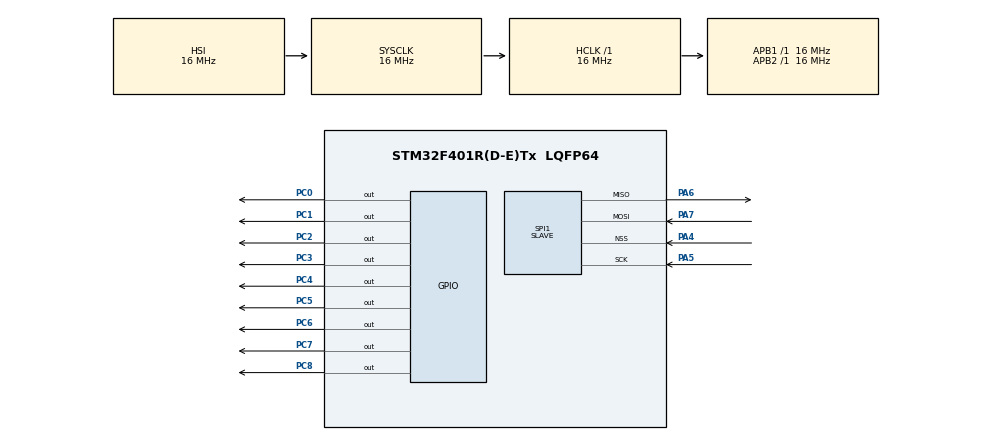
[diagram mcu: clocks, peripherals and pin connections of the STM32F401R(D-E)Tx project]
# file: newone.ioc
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Mcu.Family=STM32F4
Mcu.Name=STM32F401R(D-E)Tx
Mcu.Package=LQFP64
NVIC.PriorityGroup=NVIC_PRIORITYGROUP_4
NVIC.TIM2_IRQn=true\:0\:0\:false\:false\:true\:true\:true\:true
NVIC.TIM3_IRQn=true\:0\:0\:false\:false\:true\:true\:true\:true
PA4.Mode=NSS_Signal_Hard_Input
PA4.Signal=SPI1_NSS
PA5.Mode=Full_Duplex_Slave
PA5.Signal=SPI1_SCK
PA6.Mode=Full_Duplex_Slave
PA6.Signal=SPI1_MISO
PA7.Mode=Full_Duplex_Slave
PA7.Signal=SPI1_MOSI
PC0.Signal=GPIO_Output
PC1.Signal=GPIO_Output
PC2.Signal=GPIO_Output
PC3.Signal=GPIO_Output
PC4.Signal=GPIO_Output
PC5.Signal=GPIO_Output
PC6.Signal=GPIO_Output
PC7.Signal=GPIO_Output
PC8.Signal=GPIO_Output
ProjectManager.HeapSize=0x200
ProjectManager.StackSize=0x400
ProjectManager.TargetToolchain=MDK-ARM V5.32
RCC.AHBFreq_Value=16000000
RCC.APB1Freq_Value=16000000
RCC.APB2Freq_Value=16000000
RCC.CortexFreq_Value=16000000
RCC.HSE_VALUE=25000000
RCC.HSI_VALUE=16000000
RCC.LSE_VALUE=32768
RCC.SYSCLKFreq_VALUE=16000000
RCC.VCOOutputFreq_Value=192000000
SPI1.Direction=SPI_DIRECTION_2LINES
SPI1.Mode=SPI_MODE_SLAVE
SPI1.VirtualNSS=VM_NSSHARD
SPI1.VirtualType=VM_SLAVE
VP_TIM2_VS_ClockSourceINT.Mode=Internal
VP_TIM2_VS_ClockSourceITR.Mode=TriggerSource_ITR0
VP_TIM3_VS_ClockSourceINT.Mode=Internal
VP_TIM3_VS_ClockSourceITR.Mode=TriggerSource_ITR0
board=custom

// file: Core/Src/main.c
/* USER CODE BEGIN Header */
/**
  ******************************************************************************
  * @file           : main.c
  * @brief          : Main program body
  ******************************************************************************
  * @attention
  *
  * Copyright (c) 2023 STMicroelectronics.
  * All rights reserved.
  *
  * This software is licensed under terms that can be found in the LICENSE file
  * in the root directory of this software component.
  * If no LICENSE file comes with this software, it is provided AS-IS.
  *
  ******************************************************************************
  */
/* USER CODE END Header */
#include "main.h"

/* USER CODE BEGIN Includes */
#include "stm32f4xx_hal.h"
#include "stm32f4xx_hal_dac.h"
#include "math.h"
#include "../../Drivers/LCD16x2Lib/LCD.h"
#include "stdio.h"
#include <stdlib.h>
/* USER CODE END Includes */

 SPI_HandleTypeDef hspi1;

TIM_HandleTypeDef htim2;
TIM_HandleTypeDef htim3;

void SystemClock_Config(void);
static void MX_GPIO_Init(void);
static void MX_SPI1_Init(void);
static void MX_TIM3_Init(void);
static void MX_TIM2_Init(void);

/* USER CODE BEGIN 0 */
//defined variables
volatile uint16_t frequency;
volatile uint16_t duration;
volatile uint16_t wave_model;
volatile uint8_t flag=1;
//for printing waves
volatile uint8_t index=0;
volatile uint8_t interupt_occured=1;
void create_square_pulse(void);
void create_trangle_pulse(void);
void create_saw_tooth_pulse(void);
void create_sin_pulse(void);
void create_abs_pulse(void);
void create_step_pulse(void);
void HAL_TIM_PeriodElapsedCallback(TIM_HandleTypeDef *htim);
const uint8_t square_pule_lookUp[200] = {
0,0,0,0,0,0,0,0,0,0,0,0,0,0,0,0,0,0,0,0,0,0,0,0,0,0,0,0,0,0,0,0,0,0,0,0,0,0,0,0,0,0,0,0,0,0,0,0,0,0,0,0,0,0,0,0,0,0,0,0,
0,0,0,0,0,0,0,0,0,0,0,0,0,0,0,0,0,0,0,0,0,0,0,0,0,0,0,0,0,0,0,0,0,0,0,0,0,0,0,0,127,127,127,127,127,127,127,127,127,127,
127,127,127,127,127,127,127,127,127,127,127,127,127,127,127,127,127,127,127,127,127,127,127,127,127,127,127,127,127,127,
127,127,127,127,127,127,127,127,127,127,127,127,127,127,127,127,127,127,127,127,127,127,127,127,127,127,127,127,127,127,
127,127,127,127,127,127,127,127,127,127,127,127,127,127,127,127,127,127,127,127,127,127,127,127,127,127,127,127,127,127 };
const uint8_t triangle[200] = {0,  3,  5,  8, 10, 13, 15, 18, 20, 23, 25, 28, 30,33, 36, 38, 41, 43, 46, 48, 51, 53, 56, 58, 61, 64,
	66, 69, 71, 74, 76, 79, 81, 84, 86, 89, 91, 94, 97,99,102,104,107,109,112,114,117,119,122,124,127,130,132,135,137,140,142,145,147,
	150,152,155,157,160,163,165,168,170,173,175,178,180,183,185,188,190,193,196,198,201,203,206,208,211,213,216,218,221,224,226,229,231
	,234,236,239,241,244,246,249,251,254,251,249,246,244,241,239,236,234,231,229,226,224,221,218,216,213,211,208,206,203,201,198,196,193,
	190,188,185,183,180,178,175,173,170,168,165,163,160,157,155,152,150,147,145,142,140,137,135,132,130,127,124,122,119,117,114,112,109,
	107,104,102, 99, 97, 94, 91, 89, 86, 84, 81,79, 76, 74, 71, 69, 66, 64, 61, 58, 56, 53, 51, 48,46, 43, 41, 38, 36, 33, 30, 28, 25, 23,
20, 18, 15,13, 10,  8,  5,  3 };
const uint8_t step_lookUp_table[]={
0,0,0,0,0,20,20,20,20,20,20,20,38,38,38,38,38,38,38,56,56,56,56,56,56,56,74,74,74,74,74,74,74,92,92,92,92,92,92,92,110,
110,110,110,110,110,110,128,128,128,128,128,128,128,146,146,146,146,146,146,146,164,164,164,164,164,164,164,182,182,182,
182,182,182,182,200,200,200,200,200,200,200,218,218,218,218,218,218,218,236,236,236,236,236,236,236,254,254,254,254,
254,254,254,254,236,236,236,236,236,236,236,218,218,218,218,218,218,218,200,200,200,200,200,200,200,182,182,182,182,182,182,182,164,164,164,164,164,164,164,146,146,146,146,146,146,146,128,128,128,128,128,128,128,110,110,110,110,110,110,
110,92,92,92,92,92,92,92,74,74,74,74,74,74,74,56,56,56,56,56,56,56,38,38,38,38,38,38,38,20,20,20,20,20,20,20,0,0,0,0,0};
const uint8_t sin_lookUp_table[]={127,131,135,139,143,147,151,155,159,162,166,170,174,177,181,185,188,192,195,198,202,205,208,211,214,
	217,220,222,225,227,230,232,234,236,238,240,242,244,245,246,248,249,250,251,252,252,253,253,254,254,254,254,254,253,253,252,252,251,
	250,249,248,246,245,244,242,240,238,236,234,232,230,227,225,222,220,217,214,211,208,205,202,198,195,192,188,185,181,177,174,170,166,
	162,159,155,151,147,143,139,135,131,127,123,119,115,111,107,103, 99, 95, 92, 88, 84, 80, 77, 73, 69, 66,62, 59, 56, 52, 49, 46, 43,
	40, 37, 34, 32, 29, 27,24, 22, 20, 18, 16, 14, 12, 10,  9,  8,  6,  5,  4,3,  2,  2,  1,  1,  0,  0,  0,  0,  0,  1,  1,  2, 2,  3,
	4,  5,  6,  8,  9, 10, 12, 14, 16, 18, 20,22, 24, 27, 29, 32, 34, 37, 40, 43, 46, 49, 52, 56,59, 62, 66, 69, 73, 77, 80, 84, 88, 92,
95, 99,103,107,111,115,119,123};
const uint8_t abs_lookUp_table[]={127,131,135,139,143,147,151,155,159,162,166,170,174,177,181,185,188,192,195,198,202,205,208,211,214,
	217,220,222,225,227,230,232,234,236,238,240,242,244,245,246,248,249,250,251,252,252,253,253,254,254,254,254,254,253,253,252,252,251,
	250,249,248,246,245,244,242,240,238,236,234,232,230,227,225,222,220,217,214,211,208,205,202,198,195,192,188,185,181,177,174,170,166,
	162,159,155,151,147,143,139,135,131,127,131,135,139,143,147,151,155,159,162,166,170,174,177,181,185,188,192,195,198,202,205,208,211,214,
	217,220,222,225,227,230,232,234,236,238,240,242,244,245,246,248,249,250,251,252,252,253,253,254,254,254,254,254,253,253,252,252,251,
	250,249,248,246,245,244,242,240,238,236,234,232,230,227,225,222,220,217,214,211,208,205,202,198,195,192,188,185,181,177,174,170,166,
	162,159,155,151,147,143,139,135,131};
const uint8_t saw_tooth_lookUp_table[]={0,  1,  3,  4,  5,  6,  8,  9, 10, 11, 13, 14, 15,17, 18, 19, 20, 22, 23, 24, 25, 27, 28, 29,
	30, 32,33, 34, 36, 37, 38, 39, 41, 42, 43, 44, 46, 47, 48,50, 51, 52, 53, 55, 56, 57, 58, 60, 61, 62, 64, 65,66, 67, 69, 70, 71, 72,
	74, 75, 76, 77, 79, 80, 81,83, 84, 85, 86, 88, 89, 90, 91, 93, 94, 95, 97, 98,99,100,102,103,104,105,107,108,109,110,112,113,114,116,117,
	118,119,121,122,123,124,126,127,128,130,131,132,133,135,136,137,138,140,141,142,144,145,146,147,149,150,151,152,154,155,156,157,159,160,
	161,163,164,165,166,168,169,170,171,173,174,175,177,178,179,180,182,183,184,185,187,188,189,190,192,193,194,196,197,198,199,201,202,203,
	204,206,207,208,210,211,213,215,216,217,218,220,221,222,224,225,226,227,229,230,231,232,234,235,236,237,239,240,241,243,244,245,246,
 248,249,250,251,253,255};

/* USER CODE END 0 */

int main(void)
{

  /* MCU Configuration--------------------------------------------------------*/

  /* Reset of all peripherals, Initializes the Flash interface and the Systick. */
  HAL_Init();

  /* Configure the system clock */
  SystemClock_Config();

  /* Initialize all configured peripherals */
  MX_GPIO_Init();
  MX_SPI1_Init();
//  MX_TIM3_Init();
 // MX_TIM2_Init();
  /* USER CODE BEGIN 2 */
	__HAL_RCC_GPIOB_CLK_ENABLE();
	LCD_Init();

  /* USER CODE END 2 */

  /* Infinite loop */
  /* USER CODE BEGIN WHILE */
	//LCD_Puts(4, 0, "helllllllllo");
	/*LCD_Puts(0,0,"waiting...");
	uint8_t *received = (uint8_t*) malloc(6 * sizeof(uint8_t));
//	uint8_t *tx_buffer_slave = (uint8_t*) malloc(6 * sizeof(uint8_t));
	// uint8_t received[6];
	 HAL_SPI_Receive(&hspi1,received,6,HAL_MAX_DELAY);
	 LCD_Clear();
	 char str[33];

    frequency=(received[0]<<8)|received[1];
  	duration=(received[2]<<8)|received[3];
    wave_model=(received[4]<<8)|received[5];

	 sprintf(str,"freq is %06d",frequency);
	 LCD_Puts(0,0,str);
	 sprintf(str,"du is %06d",duration);
	 LCD_Puts(0,1,str);
	 HAL_Delay(1000);
	 LCD_Clear();
	 sprintf(str,"model is %01d",wave_model);
	 LCD_Puts(0,0,str);
	 //set the duratuon for the timer
	 HAL_Delay(1000);
 //  MX_TIM3_Init();

	 //now it should transmit what frequency it got
   HAL_Delay(100);
	 LCD_Clear();
	 LCD_Puts(0,0,"done config");
	 MX_TIM3_Init();
	 //	 MX_TIM2_Init();
	 HAL_Delay(1);
 if(wave_model==1){
		LCD_Clear();
		LCD_Puts(0,0,"sin");
		HAL_Delay(100);
  	create_sin_pulse();
	}
	else if(wave_model==2){
		LCD_Clear();
		LCD_Puts(0,0,"square pulse");
		HAL_Delay(100);
	  create_square_pulse();
	}
	else if(wave_model==3){
		LCD_Clear();
		LCD_Puts(0,0,"triangle");
		HAL_Delay(100);
   	create_trangle_pulse();
	}
	else if(wave_model==4){}
	else if(wave_model==5){}
	else if(wave_model==6){
		LCD_Clear();
		LCD_Puts(0,0,"saw_tooth");
		HAL_Delay(100);
		create_saw_tooth_pulse();
	 }
	 HAL_Delay(100);
	 //NOW the salve should send that it work is done and waiting for another command....
	 uint8_t *slave_send = (uint8_t*) malloc(1 * sizeof(uint8_t));
   slave_send[0]=(uint8_t)1;
	 HAL_SPI_Transmit(&hspi1,slave_send,1,HAL_MAX_DELAY);*/

  while (1)
  {
    /* USER CODE END WHILE */

    /* USER CODE BEGIN 3 */
		LCD_Puts(0,0,"waiting...");
	 uint8_t *received = (uint8_t*) malloc(6 * sizeof(uint8_t));
//	uint8_t *tx_buffer_slave = (uint8_t*) malloc(6 * sizeof(uint8_t));
	// uint8_t received[6];
	 HAL_SPI_Receive(&hspi1,received,6,HAL_MAX_DELAY);
	 LCD_Clear();
	 char str[33];

    frequency=(received[0]<<8)|received[1];
  	duration=(received[2]<<8)|received[3];
    wave_model=(received[4]<<8)|received[5];

	 sprintf(str,"freq is %06d",frequency);
	 LCD_Puts(0,0,str);
	 sprintf(str,"du is %06d",duration);
	 LCD_Puts(0,1,str);
	 HAL_Delay(1000);
	 LCD_Clear();
	 sprintf(str,"model is %01d",wave_model);
	 LCD_Puts(0,0,str);
	 //set the duratuon for the timer
	 HAL_Delay(1000);
   //  MX_TIM3_Init();

	 //now it should transmit what frequency it got
   HAL_Delay(100);
	 LCD_Clear();
	 LCD_Puts(0,0,"done config");
	 MX_TIM3_Init();
	 MX_TIM2_Init();
	 HAL_Delay(1);
 if(wave_model==1){
		LCD_Clear();
		LCD_Puts(0,0,"sin");
		HAL_Delay(100);
  	create_sin_pulse();
	}
	else if(wave_model==2){
		LCD_Clear();
		LCD_Puts(0,0,"square pulse");
		HAL_Delay(100);
	  create_square_pulse();
	}
	else if(wave_model==3){
		LCD_Clear();
		LCD_Puts(0,0,"abs");
		HAL_Delay(100);
   	create_abs_pulse();
	}
	else if(wave_model==4){
	LCD_Clear();
		LCD_Puts(0,0,"step");
		HAL_Delay(100);
   	create_step_pulse();}
	else if(wave_model==5){
		LCD_Clear();
		LCD_Puts(0,0,"triangle");
		HAL_Delay(100);
   	create_trangle_pulse();}
	else if(wave_model==6){
		LCD_Clear();
		LCD_Puts(0,0,"saw_tooth");
		HAL_Delay(100);
		create_saw_tooth_pulse();
	 }
	 HAL_Delay(100);
	 LCD_Clear();
	 frequency=0;
	 duration=0;
   wave_model=0;
   flag=1;
   index=0;
   interupt_occured=1;
	 //NOW the salve should send that it work is done and waiting for another command....
	 /*uint8_t *slave_send = (uint8_t*) malloc(1 * sizeof(uint8_t));
   slave_send[0]=(uint8_t)22;
	 HAL_SPI_Transmit(&hspi1,slave_send,1,HAL_MAX_DELAY);*/
  }

  /* USER CODE END 3 */
}

void SystemClock_Config(void)
{
  RCC_OscInitTypeDef RCC_OscInitStruct = {0};
  RCC_ClkInitTypeDef RCC_ClkInitStruct = {0};

  /** Configure the main internal regulator output voltage
  */
  __HAL_RCC_PWR_CLK_ENABLE();
  __HAL_PWR_VOLTAGESCALING_CONFIG(PWR_REGULATOR_VOLTAGE_SCALE2);

  /** Initializes the RCC Oscillators according to the specified parameters
  * in the RCC_OscInitTypeDef structure.
  */
  RCC_OscInitStruct.OscillatorType = RCC_OSCILLATORTYPE_HSI;
  RCC_OscInitStruct.HSIState = RCC_HSI_ON;
  RCC_OscInitStruct.HSICalibrationValue = RCC_HSICALIBRATION_DEFAULT;
  RCC_OscInitStruct.PLL.PLLState = RCC_PLL_NONE;
  if (HAL_RCC_OscConfig(&RCC_OscInitStruct) != HAL_OK)
  {
    Error_Handler();
  }

  /** Initializes the CPU, AHB and APB buses clocks
  */
  RCC_ClkInitStruct.ClockType = RCC_CLOCKTYPE_HCLK|RCC_CLOCKTYPE_SYSCLK
                              |RCC_CLOCKTYPE_PCLK1|RCC_CLOCKTYPE_PCLK2;
  RCC_ClkInitStruct.SYSCLKSource = RCC_SYSCLKSOURCE_HSI;
  RCC_ClkInitStruct.AHBCLKDivider = RCC_SYSCLK_DIV1;
  RCC_ClkInitStruct.APB1CLKDivider = RCC_HCLK_DIV1;
  RCC_ClkInitStruct.APB2CLKDivider = RCC_HCLK_DIV1;

  if (HAL_RCC_ClockConfig(&RCC_ClkInitStruct, FLASH_LATENCY_0) != HAL_OK)
  {
    Error_Handler();
  }
}

static void MX_SPI1_Init(void)
{

  /* SPI1 parameter configuration*/
  hspi1.Instance = SPI1;
  hspi1.Init.Mode = SPI_MODE_SLAVE;
  hspi1.Init.Direction = SPI_DIRECTION_2LINES;
  hspi1.Init.DataSize = SPI_DATASIZE_8BIT;
  hspi1.Init.CLKPolarity = SPI_POLARITY_LOW;
  hspi1.Init.CLKPhase = SPI_PHASE_1EDGE;
  hspi1.Init.NSS = SPI_NSS_HARD_INPUT;
  hspi1.Init.FirstBit = SPI_FIRSTBIT_MSB;
  hspi1.Init.TIMode = SPI_TIMODE_DISABLE;
  hspi1.Init.CRCCalculation = SPI_CRCCALCULATION_DISABLE;
  hspi1.Init.CRCPolynomial = 10;
  if (HAL_SPI_Init(&hspi1) != HAL_OK)
  {
    Error_Handler();
  }

}

static void MX_TIM2_Init(void)
{

  TIM_ClockConfigTypeDef sClockSourceConfig = {0};
  TIM_SlaveConfigTypeDef sSlaveConfig = {0};
  TIM_MasterConfigTypeDef sMasterConfig = {0};

  /* USER CODE BEGIN TIM2_Init 1 */
  //uint16_t arr=(1000000/frequency)/200;
  /* USER CODE END TIM2_Init 1 */
  htim2.Instance = TIM2;
  htim2.Init.Prescaler = (16000000/(frequency*200))-1;
  htim2.Init.CounterMode = TIM_COUNTERMODE_UP;

  htim2.Init.Period =5000/frequency;
  htim2.Init.ClockDivision = TIM_CLOCKDIVISION_DIV1;
  htim2.Init.AutoReloadPreload = TIM_AUTORELOAD_PRELOAD_DISABLE;
  if (HAL_TIM_Base_Init(&htim2) != HAL_OK)
  {
    Error_Handler();
  }
  sClockSourceConfig.ClockSource = TIM_CLOCKSOURCE_INTERNAL;
  if (HAL_TIM_ConfigClockSource(&htim2, &sClockSourceConfig) != HAL_OK)
  {
    Error_Handler();
  }
  sSlaveConfig.SlaveMode = TIM_SLAVEMODE_DISABLE;
  sSlaveConfig.InputTrigger = TIM_TS_ITR0;
  if (HAL_TIM_SlaveConfigSynchro(&htim2, &sSlaveConfig) != HAL_OK)
  {
    Error_Handler();
  }
  sMasterConfig.MasterOutputTrigger = TIM_TRGO_RESET;
  sMasterConfig.MasterSlaveMode = TIM_MASTERSLAVEMODE_DISABLE;
  if (HAL_TIMEx_MasterConfigSynchronization(&htim2, &sMasterConfig) != HAL_OK)
  {
    Error_Handler();
  }

}

static void MX_TIM3_Init(void)
{

  TIM_ClockConfigTypeDef sClockSourceConfig = {0};
  TIM_SlaveConfigTypeDef sSlaveConfig = {0};
  TIM_MasterConfigTypeDef sMasterConfig = {0};

  htim3.Instance = TIM3;
  htim3.Init.Prescaler = 16000-1;
  htim3.Init.CounterMode = TIM_COUNTERMODE_UP;
  htim3.Init.Period = duration;
  htim3.Init.ClockDivision = TIM_CLOCKDIVISION_DIV1;
  htim3.Init.AutoReloadPreload = TIM_AUTORELOAD_PRELOAD_DISABLE;
  if (HAL_TIM_Base_Init(&htim3) != HAL_OK)
  {
    Error_Handler();
  }
  sClockSourceConfig.ClockSource = TIM_CLOCKSOURCE_INTERNAL;
  if (HAL_TIM_ConfigClockSource(&htim3, &sClockSourceConfig) != HAL_OK)
  {
    Error_Handler();
  }
  sSlaveConfig.SlaveMode = TIM_SLAVEMODE_DISABLE;
  sSlaveConfig.InputTrigger = TIM_TS_ITR0;
  if (HAL_TIM_SlaveConfigSynchro(&htim3, &sSlaveConfig) != HAL_OK)
  {
    Error_Handler();
  }
  sMasterConfig.MasterOutputTrigger = TIM_TRGO_RESET;
  sMasterConfig.MasterSlaveMode = TIM_MASTERSLAVEMODE_DISABLE;
  if (HAL_TIMEx_MasterConfigSynchronization(&htim3, &sMasterConfig) != HAL_OK)
  {
    Error_Handler();
  }

}

static void MX_GPIO_Init(void)
{
  GPIO_InitTypeDef GPIO_InitStruct = {0};

  /* GPIO Ports Clock Enable */
  __HAL_RCC_GPIOC_CLK_ENABLE();
  __HAL_RCC_GPIOA_CLK_ENABLE();

  /*Configure GPIO pin Output Level */
  HAL_GPIO_WritePin(GPIOC, GPIO_PIN_0|GPIO_PIN_1|GPIO_PIN_2|GPIO_PIN_3
                          |GPIO_PIN_4|GPIO_PIN_5|GPIO_PIN_6|GPIO_PIN_7
                          |GPIO_PIN_8, GPIO_PIN_RESET);

  /*Configure GPIO pins : PC0 PC1 PC2 PC3
                           PC4 PC5 PC6 PC7
                           PC8 */
  GPIO_InitStruct.Pin = GPIO_PIN_0|GPIO_PIN_1|GPIO_PIN_2|GPIO_PIN_3
                          |GPIO_PIN_4|GPIO_PIN_5|GPIO_PIN_6|GPIO_PIN_7
                          |GPIO_PIN_8;
  GPIO_InitStruct.Mode = GPIO_MODE_OUTPUT_PP;
  GPIO_InitStruct.Pull = GPIO_NOPULL;
  GPIO_InitStruct.Speed = GPIO_SPEED_FREQ_LOW;
  HAL_GPIO_Init(GPIOC, &GPIO_InitStruct);

}

/* USER CODE BEGIN 4 */
void create_sin_pulse(void){
		HAL_TIM_Base_Start_IT(&htim3);
		HAL_TIM_Base_Start_IT(&htim2);
  while (flag && interupt_occured)
    {
          GPIOC->ODR=  sin_lookUp_table[index];
    }
		GPIOC->ODR=0;
		LCD_Clear();
		LCD_Puts(0,0,"INTERUPT");
}
void create_step_pulse(void){
		HAL_TIM_Base_Start_IT(&htim3);
		HAL_TIM_Base_Start_IT(&htim2);
 while (flag && interupt_occured)
    {
           GPIOC->ODR=step_lookUp_table[index];
    }
		GPIOC->ODR=0;
		LCD_Clear();
		LCD_Puts(0,0,"INTERUPT");
}
void create_abs_pulse(void){
		HAL_TIM_Base_Start_IT(&htim3);
		HAL_TIM_Base_Start_IT(&htim2);
 while (flag && interupt_occured)
    {
        GPIOC->ODR=abs_lookUp_table[index];
    }
		GPIOC->ODR=0;
		LCD_Clear();
		LCD_Puts(0,0,"INTERUPT");
}

void create_square_pulse(void){
		HAL_TIM_Base_Start_IT(&htim3);
		HAL_TIM_Base_Start_IT(&htim2);
 while (flag && interupt_occured)
    {
       GPIOC->ODR=square_pule_lookUp[index];
    }
		GPIOC->ODR=0;
		LCD_Clear();
		LCD_Puts(0,0,"INTERUPT");
}

void create_trangle_pulse(void){
		HAL_TIM_Base_Start_IT(&htim3);
		HAL_TIM_Base_Start_IT(&htim2);
 while (flag && interupt_occured)
    {
        GPIOC->ODR=triangle[index];
    }
		GPIOC->ODR=0;
		LCD_Clear();
		LCD_Puts(0,0,"INTERUPT");
}
void create_saw_tooth_pulse(void){
	HAL_TIM_Base_Start_IT(&htim3);
	HAL_TIM_Base_Start_IT(&htim2);
 while (flag && interupt_occured)
    {
			//interupt_occured=0;
			GPIOC->ODR=saw_tooth_lookUp_table[index];
    }
		GPIOC->ODR=0;
		LCD_Clear();
		LCD_Puts(0,0,"INTERUPT");
}
void HAL_TIM_PeriodElapsedCallback(TIM_HandleTypeDef *htim)
{
    if (htim->Instance == htim2.Instance)
    {
       index=(index+1)%200;
    }
  if (htim->Instance == htim3.Instance)
  {

		//  HAL_TIM_IRQHandler(&htim3);
  /* USER CODE BEGIN TIM3_IRQn 1 */
 // if (__HAL_TIM_GET_FLAG(&htim3, TIM_FLAG_UPDATE) != RESET)
  //{
 //  __HAL_TIM_CLEAR_FLAG(&htim3, TIM_FLAG_UPDATE); // Clear the interrupt flag
    // Disable the signal by setting the appropriate GPIO pin to a low level
		GPIOC->ODR=0;
    HAL_GPIO_WritePin(GPIOC, GPIO_PIN_0|GPIO_PIN_1| GPIO_PIN_2|GPIO_PIN_3|GPIO_PIN_4|GPIO_PIN_5|GPIO_PIN_6|GPIO_PIN_7|GPIO_PIN_8, GPIO_PIN_RESET);
		HAL_GPIO_WritePin(GPIOC,GPIO_PIN_8,GPIO_PIN_SET);
		flag=0;
		interupt_occured=0;
		HAL_TIM_Base_Stop(&htim2);
  /* USER CODE END TIM3_IRQn 1 */
//}

  }
}

/* USER CODE END 4 */

void Error_Handler(void)
{
  __disable_irq();
  while (1)
  {
  }
}
